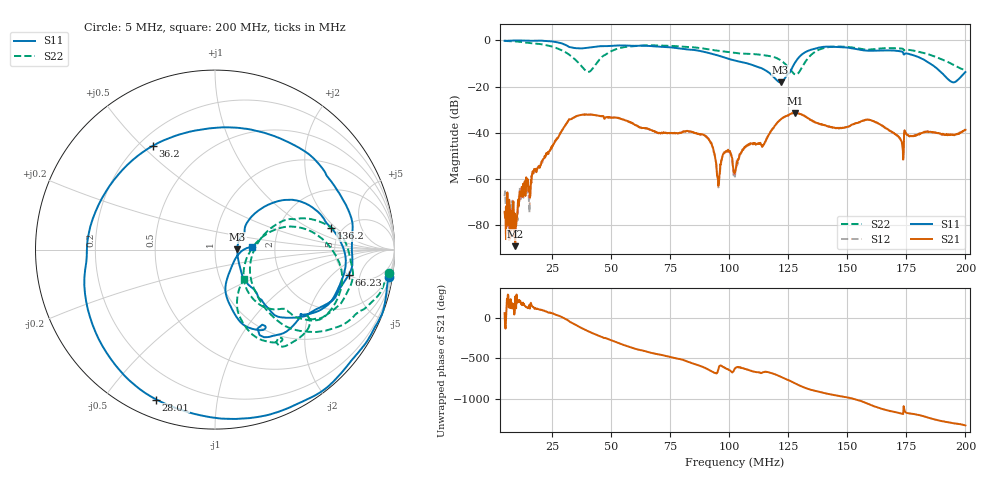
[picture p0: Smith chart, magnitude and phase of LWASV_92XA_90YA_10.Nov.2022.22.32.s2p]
!Keysight Technologies N9917A: A.12.46
!Date: Thursday, 10 November 2022 22:32:19
!Timezone: (UTC) Coordinated Universal Time
!Model: N9917A
!Serial: MY56071016
!GPS Latitude:
!GPS Longitude:
!GPS TimeStamp: 0001-01-01 00:00:00Z
!GPS Seconds Since Last Read: 0
!CHECKSUM:2098765812
!Correction: S11(ON U)S21(ON U)S12(ON U)S22(ON U)
!S2P File: Measurements:S11,S21,S12,S22:
# Hz S DB R 50
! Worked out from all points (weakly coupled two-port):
!   1001 points, 5 MHz to 200 MHz, reference 50 ohm
!   highest |S21| = -31.33 dB at 128 MHz (marker M1); lowest = -88.9 dB at 9.485 MHz (marker M2)
!   lowest |S11| = -18.1 dB at 121.8 MHz (marker M3), VSWR 1.28, Z = 64.1 + j0.0922 ohm
!   |S11| at or under -10 dB: 108 MHz to 127.7 MHz (19.7 MHz wide, 16.7 % of centre); 185.1 MHz to end of sweep
!   |S22| runs from -14.8 to -0.2 dB; largest |S21 - S12| = 0.00091
!   S11 on the Smith chart (normalised r, x): 5 MHz: 1, -12; 28.01 MHz: 0.08, -0.68; 36.2 MHz: 0.25, +0.54; 66.23 MHz: 5.06, -3.31; 136.2 MHz: 4.06, +1.75; 200 MHz: 1.52, +0.05
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5000000  -0.15 -9.0  -74.07 57.3  -67.29 -177.2  -0.21 -7.7
9485000  -0.04 -19.4  -88.94 -98.1  -77.14 37.7  -0.43 -14.5
2.0405e7  -0.11 -54.3  -53.76 99.7  -53.24 99.3  -1.63 -30.2
2.801e7  -0.94 -111.4  -41.29 24.7  -41.26 24.1  -3.75 -44.1
3.2105e7  -2.71 -171.3  -34.47 -36.6  -34.41 -36.9  -5.98 -49.1
3.62e7  -3.43 120.8  -32.42 -105.6  -32.47 -105.7  -9.61 -46.6
3.7565e7  -3.46 102.2  -32.16 -126.8  -32.26 -126.3  -11.20 -41.8
4.6925e7  -2.52 34.6  -33.05 110.9  -33.13 111.5  -6.57 21.2
6.623e7  -2.40 -10.6  -38.30 -66.5  -38.56 -65.6  -2.12 -11.9
7.013e7  -2.73 -16.8  -40.18 -90.7  -40.06 -91.1  -2.20 -16.9
8.963e7  -4.99 -42.4  -40.94 104.5  -41.14 106.0  -3.58 -36.6
9.5285e7  -6.50 -48.0  -60.01 71.0  -59.72 61.0  -4.46 -39.5
9.8795e7  -7.62 -47.8  -47.88 93.2  -48.13 92.7  -4.95 -40.1
1.025e8  -8.71 -47.8  -56.85 97.9  -58.93 107.6  -5.44 -40.2
1.21805e8  -18.15 0.3  -34.25 -6.2  -34.20 -6.6  -8.59 -51.7
1.28045e8  -9.39 41.6  -31.33 -90.1  -31.34 -89.8  -14.75 -22.7
1.35065e8  -3.97 14.7  -34.67 -170.4  -34.59 -171.2  -5.94 13.6
1.36235e8  -3.63 10.6  -35.33 -179.6  -35.34 -179.1  -5.03 9.4
1.6763e8  -4.33 -45.3  -38.79 -65.2  -38.93 -64.2  -3.32 -43.1
1.72895e8  -4.80 -57.1  -43.41 -100.8  -43.54 -97.9  -3.51 -52.7
1.94345e8  -18.00 -35.5  -40.78 142.5  -40.75 143.6  -10.23 -66.5
2e8  -13.68 4.5  -38.63 113.4  -38.50 112.4  -12.69 -45.0
